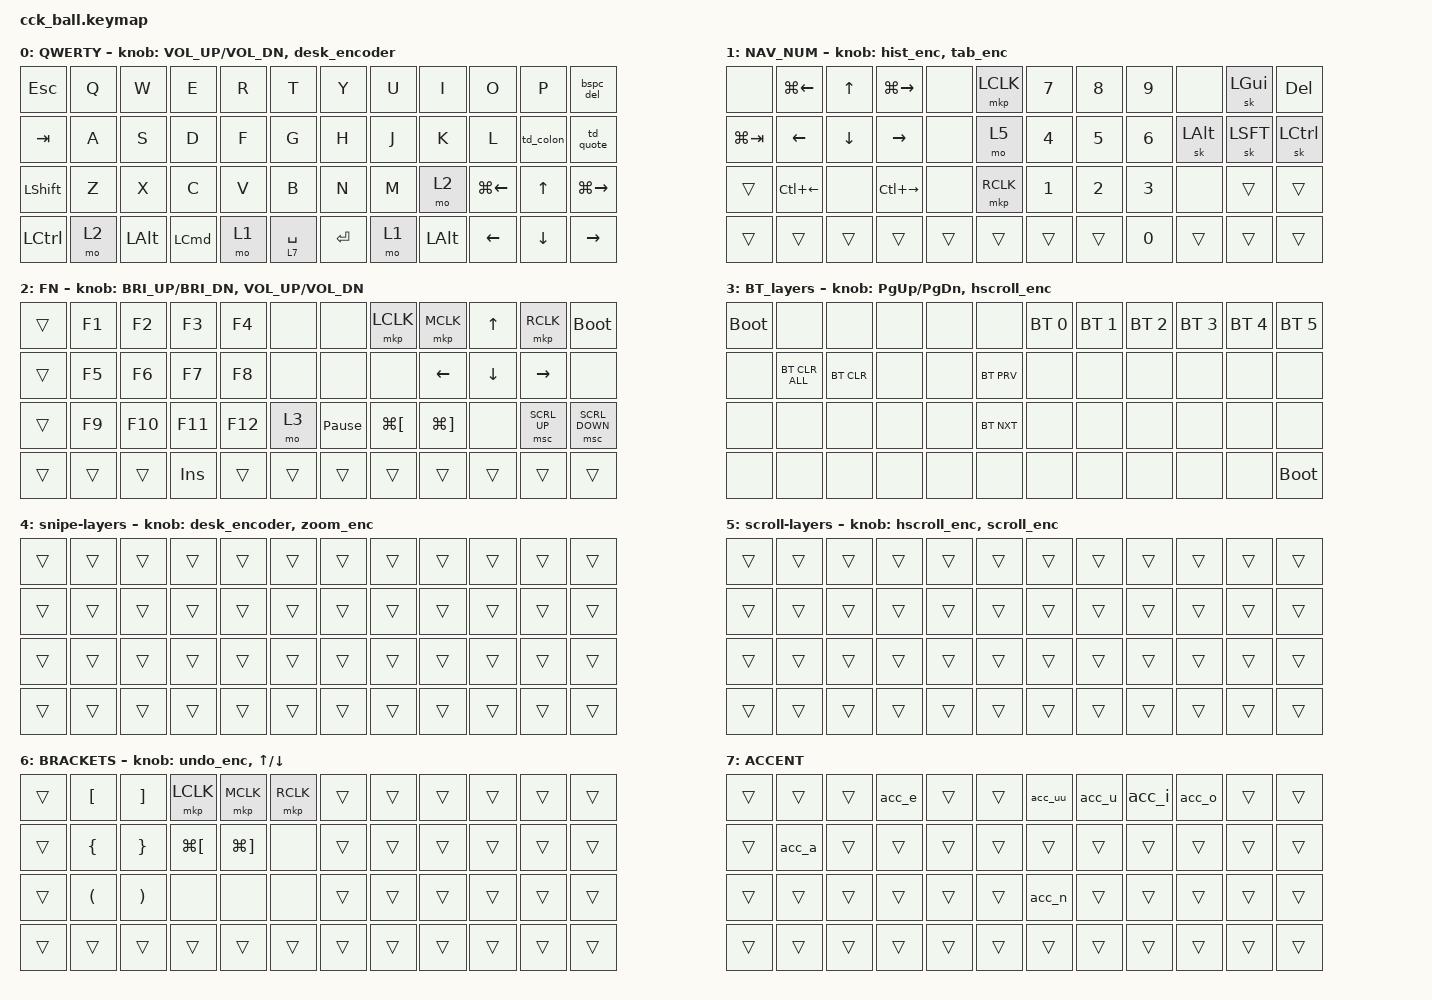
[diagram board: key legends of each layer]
#define ZMK_POINTING_DEFAULT_MOVE_VAL 800
#define ZMK_POINTING_DEFAULT_SCRL_VAL 30

#include <input/processors.dtsi>
#include <zephyr/dt-bindings/input/input-event-codes.h>
#include <behaviors.dtsi>
#include <dt-bindings/zmk/bt.h>
#include <dt-bindings/zmk/keys.h>
#include <dt-bindings/zmk/pointing.h>
#include "private.dtsi"

&mmv_input_listener { input-processors = <&zip_xy_scaler 1 1>; };
&msc_input_listener { input-processors = <&zip_scroll_scaler 1 3>; };

&msc { acceleration-exponent = <0>; time-to-max-speed-ms = <300>; delay-ms = <0>; };
&mmv { time-to-max-speed-ms = <2000>; acceleration-exponent = <0>; trigger-period-ms = <16>; };

&soft_off { hold-time-ms = <2000>; };

/ {
    scroll_enc: scroll_enc {
        compatible = "zmk,behavior-sensor-rotate";
        #sensor-binding-cells = <0>;
        tap-ms = <20>;
        bindings = <&msc MOVE_Y(-150)>, <&msc MOVE_Y(150)>;
    };

    hscroll_enc: hscroll_enc {
        compatible = "zmk,behavior-sensor-rotate";
        #sensor-binding-cells = <0>;
        tap-ms = <20>;
        bindings = <&msc MOVE_X(150)>, <&msc MOVE_X(-150)>;
    };

    hist_enc: hist_enc {
        compatible = "zmk,behavior-sensor-rotate";
        #sensor-binding-cells = <0>;
        bindings = <&kp LG(RBKT)>, <&kp LG(LBKT)>;
    };

    desk_encoder: desk_encoder {
        compatible = "zmk,behavior-sensor-rotate";
        #sensor-binding-cells = <0>;
        bindings = <&kp LC(RIGHT)>, <&kp LC(LEFT)>;
    };

    tab_enc: tab_enc {
        compatible = "zmk,behavior-sensor-rotate";
        #sensor-binding-cells = <0>;
        bindings = <&kp LG(LS(RBKT))>, <&kp LG(LS(LBKT))>;
    };

    zoom_enc: zoom_enc {
        compatible = "zmk,behavior-sensor-rotate";
        #sensor-binding-cells = <0>;
        bindings = <&kp LG(EQUAL)>, <&kp LG(MINUS)>;
    };

    undo_enc: undo_enc {
        compatible = "zmk,behavior-sensor-rotate";
        #sensor-binding-cells = <0>;
        bindings = <&kp LG(LS(Z))>, <&kp LG(Z)>;
    };

    conditional_layers {
        compatible = "zmk,conditional-layers";
        brackets_layer {
            if-layers = <1 2>;
            then-layer = <6>;
        };
    };

    combos {
        compatible = "zmk,combos";

        combo_enter_spc { timeout-ms = <35>;  key-positions = <29 41>;    bindings = <&kp RET>;     };
        combo_bspc      { timeout-ms = <35>;  key-positions = <17 41>;    bindings = <&kp BSPC>;    };
        combo_del       { timeout-ms = <35>;  key-positions = <5  41>;    bindings = <&kp DEL>;     };
        combo_space     { timeout-ms = <35>;  key-positions = <30 42>;    bindings = <&kp SPACE>;   };
        combo_caps      { timeout-ms = <35>;  key-positions = <24 25 26>; bindings = <&caps_word>;  };
        combo_soft_off  { timeout-ms = <200>; key-positions = <30 31>;    bindings = <&soft_off>;   layers = <2>; };

        combo_semi  { timeout-ms = <30>; require-prior-idle-ms = <80>; key-positions = <3  28>; bindings = <&kp SEMI>;  };
        combo_colon { timeout-ms = <30>; require-prior-idle-ms = <80>; key-positions = <4  29>; bindings = <&kp COLON>; };
        combo_comma { timeout-ms = <30>; require-prior-idle-ms = <80>; key-positions = <15 28>; bindings = <&kp COMMA>; };
        combo_dot   { timeout-ms = <30>; require-prior-idle-ms = <80>; key-positions = <16 29>; bindings = <&kp DOT>;   };

        combo_lbrc { timeout-ms = <35>; key-positions = <0  1 >; bindings = <&kp LBKT>; };
        combo_rbrc { timeout-ms = <35>; key-positions = <0  2 >; bindings = <&kp RBKT>; };
        combo_lcbr { timeout-ms = <35>; key-positions = <0 13>;  bindings = <&kp LBRC>;  };
        combo_rcbr { timeout-ms = <35>; key-positions = <0 14>;  bindings = <&kp RBRC>;  };
        combo_lprn { timeout-ms = <35>; key-positions = <0 25>;  bindings = <&kp LPAR>;  };
        combo_rprn { timeout-ms = <35>; key-positions = <0 26>;  bindings = <&kp RPAR>;  };

        combo_slash    { timeout-ms = <35>; key-positions = <4  15 26>; bindings = <&kp FSLH>;  };
        combo_bslash   { timeout-ms = <35>; key-positions = <2  15 28>; bindings = <&kp BSLH>;  };
        combo_pipe     { timeout-ms = <35>; key-positions = <3  15 27>; bindings = <&kp PIPE>;  };
        combo_caret    { timeout-ms = <35>; key-positions = <3  14 16>; bindings = <&kp CARET>; };
        combo_lt       { timeout-ms = <35>; key-positions = <3  14 27>; bindings = <&kp LT>;    };
        combo_gt       { timeout-ms = <35>; key-positions = <3  16 27>; bindings = <&kp GT>;    };
        combo_grave    { timeout-ms = <30>; require-prior-idle-ms = <80>; key-positions = <4  17>;    bindings = <&kp GRAVE>;  };
        combo_tilde    { timeout-ms = <30>; require-prior-idle-ms = <80>; key-positions = <1  16>;    bindings = <&kp TILDE>;  };
        combo_quote    { timeout-ms = <30>; require-prior-idle-ms = <80>; key-positions = <2  4 >;    bindings = <&kp DQT>;    };
        combo_apos     { timeout-ms = <30>; require-prior-idle-ms = <80>; key-positions = <14 16>;    bindings = <&kp SQT>;    };
        combo_hash     { timeout-ms = <35>; key-positions = <3  4  5 >; bindings = <&kp HASH>;  };
        combo_perc     { timeout-ms = <35>; key-positions = <2  28>;    bindings = <&kp PRCNT>;  };
        combo_excl     { timeout-ms = <35>; key-positions = <2  3  16>; bindings = <&kp EXCL>;  };
        combo_ques     { timeout-ms = <35>; key-positions = <4  14 15>; bindings = <&kp QMARK>; };
        combo_dollar   { timeout-ms = <35>; key-positions = <16 26 27>; bindings = <&kp DLLR>;  };
        combo_at       { timeout-ms = <35>; key-positions = <2  15 16>; bindings = <&kp AT>;    };
        combo_amp      { timeout-ms = <30>; require-prior-idle-ms = <80>; key-positions = <15 17>;    bindings = <&kp AMPS>;   };
        combo_star     { timeout-ms = <35>; key-positions = <27 28 29>; bindings = <&kp STAR>;  };
        combo_equal    { timeout-ms = <30>; require-prior-idle-ms = <80>; key-positions = <3  5 >;    bindings = <&kp EQUAL>;  };
        combo_minus    { timeout-ms = <30>; require-prior-idle-ms = <80>; key-positions = <16 17>;    bindings = <&kp MINUS>;  };
        combo_under    { timeout-ms = <30>; require-prior-idle-ms = <80>; key-positions = <28 29>;    bindings = <&kp UNDER>;  };
        combo_plus     { timeout-ms = <35>; key-positions = <15 16 17>; bindings = <&kp PLUS>;  };


        combo_mouse_lclk_l { timeout-ms = <35>; key-positions = <5  17>; bindings = <&mkp LCLK>; };
        combo_mouse_rclk_l { timeout-ms = <35>; key-positions = <17 29>; bindings = <&mkp RCLK>; };
        combo_mouse_mclk_l { timeout-ms = <35>; key-positions = <5  29>; bindings = <&mkp MCLK>; };
        combo_mouse_mclk_nav { timeout-ms = <35>; layers = <1>; key-positions = <6 18>; bindings = <&mkp MCLK>; };
        combo_mouse_lclk_r { timeout-ms = <35>; key-positions = <18 19>; bindings = <&mkp LCLK>; };
        combo_mouse_rclk_r { timeout-ms = <35>; key-positions = <19 20>; bindings = <&mkp RCLK>; };
        combo_mouse_mclk_r { timeout-ms = <35>; key-positions = <18 20>; bindings = <&mkp MCLK>; };
        combo_mouse_back_r { timeout-ms = <35>; key-positions = <18 31>; bindings = <&mkp MB4>;   };
        combo_mouse_fwd_r  { timeout-ms = <35>; key-positions = <6  19>; bindings = <&mkp MB5>;   };

        combo_desk_left  { timeout-ms = <50>; require-prior-idle-ms = <150>; layers = <0>; key-positions = <3  13   >; bindings = <&kp LC(LEFT)>;  };
        combo_desk_right { timeout-ms = <50>; require-prior-idle-ms = <150>; layers = <0>; key-positions = <1  15   >; bindings = <&kp LC(RIGHT)>; };
        combo_desk_up    { timeout-ms = <50>; require-prior-idle-ms = <150>; layers = <0>; key-positions = <2  13 15>; bindings = <&kp LC(UP)>;    };
        combo_desk_overview { timeout-ms = <50>; require-prior-idle-ms = <150>; layers = <0>; key-positions = <14 25 27>; bindings = <&kp LC(UP)>; };

        combo_snipe_tog  { timeout-ms = <50>; key-positions = <27 29>; bindings = <&mo 4>; };

        combo_email_gmail { timeout-ms = <50>; require-prior-idle-ms = <200>; layers = <0>; key-positions = <13 14 15 16>; bindings = <&macro_email_gmail>; };
        combo_email_work  { timeout-ms = <50>; require-prior-idle-ms = <200>; layers = <0>; key-positions = <18 19 20 21>; bindings = <&macro_email_work>;  };
        combo_username    { timeout-ms = <50>; require-prior-idle-ms = <200>; layers = <0>; key-positions = <4  7  14  >;  bindings = <&macro_username>;    };
        combo_password    { timeout-ms = <50>; require-prior-idle-ms = <200>; layers = <0>; key-positions = <2  10     >;  bindings = <&macro_password>;    };
    };

    behaviors {
        td_colon: td_colon {
            compatible = "zmk,behavior-tap-dance";
            #binding-cells = <0>;
            tapping-term-ms = <150>;
            bindings = <&kp SEMI>, <&kp COLON>;
        };

        td_quote: td_quote {
            compatible = "zmk,behavior-tap-dance";
            #binding-cells = <0>;
            tapping-term-ms = <150>;
            bindings = <&kp SQT>, <&kp DQT>, <&kp AT>;
        };

        bspc_del: backspace_delete {
            compatible = "zmk,behavior-mod-morph";
            #binding-cells = <0>;
            bindings = <&kp BSPC>, <&kp DEL>;
            mods = <(MOD_LSFT|MOD_RSFT)>;
        };

        acc_a: acc_a { compatible = "zmk,behavior-mod-morph"; #binding-cells = <0>; bindings = <&accent_a>, <&accent_a_up>; mods = <(MOD_LSFT|MOD_RSFT)>; };
        acc_e: acc_e { compatible = "zmk,behavior-mod-morph"; #binding-cells = <0>; bindings = <&accent_e>, <&accent_e_up>; mods = <(MOD_LSFT|MOD_RSFT)>; };
        acc_i: acc_i { compatible = "zmk,behavior-mod-morph"; #binding-cells = <0>; bindings = <&accent_i>, <&accent_i_up>; mods = <(MOD_LSFT|MOD_RSFT)>; };
        acc_o: acc_o { compatible = "zmk,behavior-mod-morph"; #binding-cells = <0>; bindings = <&accent_o>, <&accent_o_up>; mods = <(MOD_LSFT|MOD_RSFT)>; };
        acc_u: acc_u { compatible = "zmk,behavior-mod-morph"; #binding-cells = <0>; bindings = <&accent_u>, <&accent_u_up>; mods = <(MOD_LSFT|MOD_RSFT)>; };
        acc_n: acc_n { compatible = "zmk,behavior-mod-morph"; #binding-cells = <0>; bindings = <&accent_n>, <&accent_n_up>; mods = <(MOD_LSFT|MOD_RSFT)>; };
        acc_uu: acc_uu { compatible = "zmk,behavior-mod-morph"; #binding-cells = <0>; bindings = <&accent_uu>, <&accent_uu_up>; mods = <(MOD_LSFT|MOD_RSFT)>; };
    };

    macros {
        accent_a: accent_a { compatible = "zmk,behavior-macro"; #binding-cells = <0>; wait-ms = <50>; tap-ms = <40>; bindings = <&kp RA(E) &kp A>; };
        accent_e: accent_e { compatible = "zmk,behavior-macro"; #binding-cells = <0>; wait-ms = <50>; tap-ms = <40>; bindings = <&kp RA(E) &kp E>; };
        accent_i: accent_i { compatible = "zmk,behavior-macro"; #binding-cells = <0>; wait-ms = <50>; tap-ms = <40>; bindings = <&kp RA(E) &kp I>; };
        accent_o: accent_o { compatible = "zmk,behavior-macro"; #binding-cells = <0>; wait-ms = <50>; tap-ms = <40>; bindings = <&kp RA(E) &kp O>; };
        accent_u: accent_u { compatible = "zmk,behavior-macro"; #binding-cells = <0>; wait-ms = <50>; tap-ms = <40>; bindings = <&kp RA(E) &kp U>; };
        accent_n: accent_n { compatible = "zmk,behavior-macro"; #binding-cells = <0>; wait-ms = <50>; tap-ms = <40>; bindings = <&kp RA(N) &kp N>; };
        accent_uu: accent_uu { compatible = "zmk,behavior-macro"; #binding-cells = <0>; wait-ms = <50>; tap-ms = <40>; bindings = <&kp RA(U) &kp U>; };
        accent_a_up: accent_a_up { compatible = "zmk,behavior-macro"; #binding-cells = <0>; wait-ms = <50>; tap-ms = <40>; bindings = <&kp RA(E) &kp LS(A)>; };
        accent_e_up: accent_e_up { compatible = "zmk,behavior-macro"; #binding-cells = <0>; wait-ms = <50>; tap-ms = <40>; bindings = <&kp RA(E) &kp LS(E)>; };
        accent_i_up: accent_i_up { compatible = "zmk,behavior-macro"; #binding-cells = <0>; wait-ms = <50>; tap-ms = <40>; bindings = <&kp RA(E) &kp LS(I)>; };
        accent_o_up: accent_o_up { compatible = "zmk,behavior-macro"; #binding-cells = <0>; wait-ms = <50>; tap-ms = <40>; bindings = <&kp RA(E) &kp LS(O)>; };
        accent_u_up: accent_u_up { compatible = "zmk,behavior-macro"; #binding-cells = <0>; wait-ms = <50>; tap-ms = <40>; bindings = <&kp RA(E) &kp LS(U)>; };
        accent_n_up: accent_n_up { compatible = "zmk,behavior-macro"; #binding-cells = <0>; wait-ms = <50>; tap-ms = <40>; bindings = <&kp RA(N) &kp LS(N)>; };
        accent_uu_up: accent_uu_up { compatible = "zmk,behavior-macro"; #binding-cells = <0>; wait-ms = <50>; tap-ms = <40>; bindings = <&kp RA(U) &kp LS(U)>; };
    };

    keymap {
        compatible = "zmk,keymap";

    // Fila 0:  0=ESC  1=Q   2=W   3=E   4=R   5=T  |  6=Y   7=U   8=I   9=O  10=P  11=BSPC
    // Fila 1: 12=TAB 13=A  14=S  15=D  16=F  17=G  | 18=H  19=J  20=K  21=L  22=;  23='"
    // Fila 2: 24=LSH 25=Z  26=X  27=C  28=V  29=B  | 30=N  31=M  32=MO2 33=Cmd+<- 34=UP 35=Cmd+->
    // Fila 3: 36=CTL 37=ACCENT 38=ALT 39=CMD 40=MO1 41=lt2 SPC | 42=ENT 43=MO1 44=ALT 45=<- 46=v 47=->

        QWERTY {
            bindings = <
&kp ESC     &kp Q    &kp W    &kp E  &kp R  &kp T        &kp Y      &kp U       &kp I         &kp O         &kp P      &bspc_del
&kp TAB     &kp A    &kp S    &kp D  &kp F  &kp G        &kp H      &kp J       &kp K         &kp L         &td_colon  &td_quote
&kp LSHIFT  &kp Z    &kp X    &kp C  &kp V  &kp B        &kp N      &kp M       &mo 2     &kp LG(LEFT) &kp UP     &kp LG(RIGHT)
&kp LCTRL   &mo 2    &kp LALT  &kp LCMD   &mo 1  &lt 7 SPACE  &kp ENTER  &mo 1       &kp LALT      &kp LEFT      &kp DOWN   &kp RIGHT
            >;
            sensor-bindings = <&inc_dec_kp C_VOL_UP C_VOL_DN &desk_encoder>;
        };

        NAV_NUM {
            bindings = <
&none       &kp LG(LEFT) &kp UP &kp LG(RIGHT) &none    &mkp LCLK    &kp N7  &kp N8  &kp N9  &none   &sk LGUI &kp DEL
&kp LG(TAB) &kp LEFT &kp DOWN &kp RIGHT &none       &mo 5        &kp N4  &kp N5  &kp N6  &sk LALT   &sk LSFT &sk LCTL
&trans  &kp LC(LEFT) &none &kp LC(RIGHT)  &none    &mkp RCLK    &kp N1  &kp N2  &kp N3  &none   &trans   &trans
&trans  &trans    &trans    &trans     &trans       &trans       &trans &trans  &kp N0  &trans  &trans  &trans
            >;
            sensor-bindings = <&hist_enc &tab_enc>;
        };

        FN {
            bindings = <
&trans  &kp F1  &kp F2   &kp F3   &kp F4   &none        &none            &mkp LCLK        &mkp MCLK        &kp UP  &mkp RCLK       &bootloader
&trans  &kp F5  &kp F6   &kp F7   &kp F8   &none        &none            &none            &kp LEFT         &kp DOWN &kp RIGHT      &none
&trans  &kp F9  &kp F10  &kp F11  &kp F12  &mo 3        &kp PAUSE_BREAK  &kp LG(LBKT)     &kp LG(RBKT)    &none   &msc SCRL_UP    &msc SCRL_DOWN
&trans  &trans  &trans   &kp INS  &trans   &trans       &trans           &trans           &trans           &trans  &trans          &trans
            >;
            sensor-bindings = <&inc_dec_kp C_BRI_UP C_BRI_DN &inc_dec_kp C_VOL_UP C_VOL_DN>;
        };

        BT_layers {
            bindings = <
&bootloader &none          &none       &none  &none  &none       &bt BT_SEL 0 &bt BT_SEL 1 &bt BT_SEL 2 &bt BT_SEL 3 &bt BT_SEL 4 &bt BT_SEL 5
&none       &bt BT_CLR_ALL &bt BT_CLR  &none  &none  &bt BT_PRV  &none        &none        &none        &none        &none        &none
&none       &none          &none       &none  &none  &bt BT_NXT  &none        &none        &none        &none        &none        &none
&none       &none          &none       &none  &none  &none       &none        &none        &none        &none        &none        &bootloader
            >;
            sensor-bindings = <&inc_dec_kp PG_UP PG_DN &hscroll_enc>;
        };

        snipe-layers {
            bindings = <
&trans  &trans  &trans  &trans  &trans  &trans  &trans  &trans  &trans  &trans  &trans  &trans
&trans  &trans  &trans  &trans  &trans  &trans  &trans  &trans  &trans  &trans  &trans  &trans
&trans  &trans  &trans  &trans  &trans  &trans  &trans  &trans  &trans  &trans  &trans  &trans
&trans  &trans  &trans  &trans  &trans  &trans  &trans  &trans  &trans  &trans  &trans  &trans
            >;
            sensor-bindings = <&desk_encoder &zoom_enc>;
        };

        scroll-layers {
            bindings = <
&trans  &trans  &trans  &trans  &trans  &trans  &trans  &trans  &trans  &trans  &trans  &trans
&trans  &trans  &trans  &trans  &trans  &trans  &trans  &trans  &trans  &trans  &trans  &trans
&trans  &trans  &trans  &trans  &trans  &trans  &trans  &trans  &trans  &trans  &trans  &trans
&trans  &trans  &trans  &trans  &trans  &trans  &trans  &trans  &trans  &trans  &trans  &trans
            >;
            sensor-bindings = <&hscroll_enc &scroll_enc>;
        };

        BRACKETS {
            bindings = <
&trans  &kp LBKT  &kp RBKT  &mkp LCLK     &mkp MCLK      &mkp RCLK   &trans  &trans  &trans  &trans  &trans  &trans
&trans  &kp LBRC  &kp RBRC  &kp LG(LBKT)  &kp LG(RBKT)   &none       &trans  &trans  &trans  &trans  &trans  &trans
&trans  &kp LPAR  &kp RPAR  &none         &none          &none       &trans  &trans  &trans  &trans  &trans  &trans
&trans  &trans    &trans    &trans        &trans         &trans      &trans  &trans  &trans  &trans  &trans  &trans
            >;
            sensor-bindings = <&undo_enc &inc_dec_kp UP DOWN>;
        };

        ACCENT {
            bindings = <
&trans  &trans  &trans  &acc_e  &trans  &trans  &acc_uu  &acc_u  &acc_i  &acc_o  &trans  &trans
&trans  &acc_a  &trans  &trans  &trans  &trans  &trans    &trans  &trans  &trans  &trans  &trans
&trans  &trans  &trans  &trans  &trans  &trans  &acc_n    &trans  &trans  &trans  &trans  &trans
&trans  &trans  &trans  &trans  &trans  &trans  &trans    &trans  &trans  &trans  &trans  &trans
            >;
        };

    };
};
